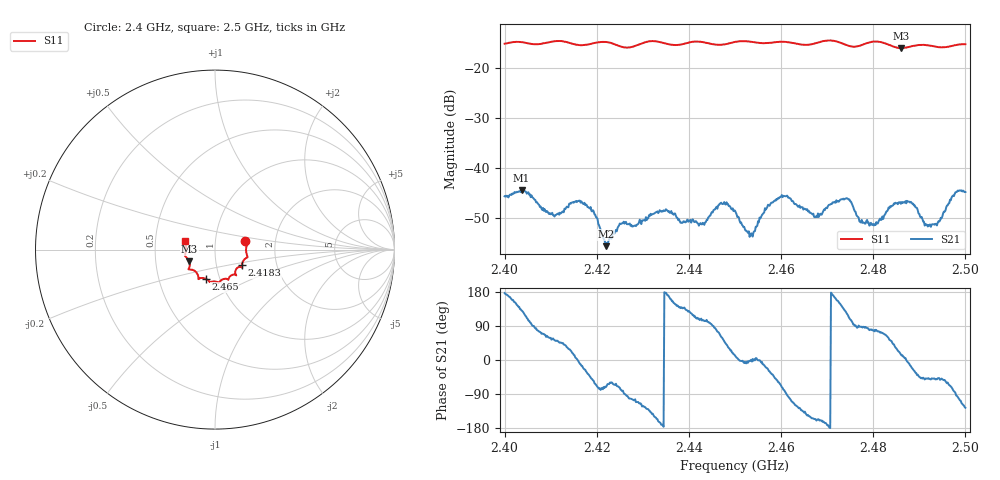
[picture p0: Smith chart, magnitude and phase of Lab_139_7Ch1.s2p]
# Hz S RI R 50
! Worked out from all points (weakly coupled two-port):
!   601 points, 2.4 GHz to 2.5 GHz, reference 50 ohm
!   highest |S21| = -44.42 dB at 2.4037 GHz (marker M1); lowest = -55.7 dB at 2.422 GHz (marker M2)
!   lowest |S11| = -16.0 dB at 2.486 GHz (marker M3), VSWR 1.38, Z = 37.1 - j4.97 ohm
!   |S11| at or under -10 dB: start of sweep to end of sweep
!   S12 and S22 are empty: the file has one direction only
!   S11 on the Smith chart (normalised r, x): 2.4 GHz: 1.40, +0.13; 2.4183 GHz: 1.33, -0.24; 2.465 GHz: 0.86, -0.29; 2.5 GHz: 0.71, +0.07
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2.4e9  0.1691 0.0457  -0.00517 0.000293  0 0  0 0
2.403667e9  0.1793 0.0292  -0.00394 0.00454  0 0  0 0
2.4105e9  0.1804 -0.0376  0.00182 0.00281  0 0  0 0
2.416667e9  0.1547 -0.0681  0.00445 -0.0012  0 0  0 0
2.418333e9  0.15 -0.0866  0.00304 -0.00256  0 0  0 0
2.422e9  0.1523 -0.0996  0.000527 -0.00155  0 0  0 0
2.425333e9  0.1312 -0.0977  0.000511 -0.0027  0 0  0 0
2.433333e9  0.1168 -0.1414  -0.00334 -0.00111  0 0  0 0
2.442333e9  0.0735 -0.1683  -0.000723 0.00264  0 0  0 0
2.447167e9  0.042 -0.1659  0.00223 0.00375  0 0  0 0
2.45e9  0.0252 -0.1807  0.00364 0.000748  0 0  0 0
2.453333e9  0.0172 -0.1827  0.00213 -7.93e-05  0 0  0 0
2.459667e9  -0.0268 -0.181  0.00239 -0.00447  0 0  0 0
2.465e9  -0.0527 -0.1623  -0.00293 -0.00257  0 0  0 0
2.466667e9  -0.0713 -0.1578  -0.00312 -0.00154  0 0  0 0
2.474333e9  -0.0973 -0.1378  -0.00257 0.00423  0 0  0 0
2.479667e9  -0.1458 -0.1105  0.000441 0.00265  0 0  0 0
2.483333e9  -0.142 -0.0959  0.00213 0.00339  0 0  0 0
2.486e9  -0.1439 -0.0652  0.00422 0.00108  0 0  0 0
2.492333e9  -0.166 -0.0253  0.00173 -0.00209  0 0  0 0
2.497833e9  -0.1659 0.0348  0.000305 -0.00567  0 0  0 0
2.5e9  -0.1666 0.0472  -0.00336 -0.00462  0 0  0 0
